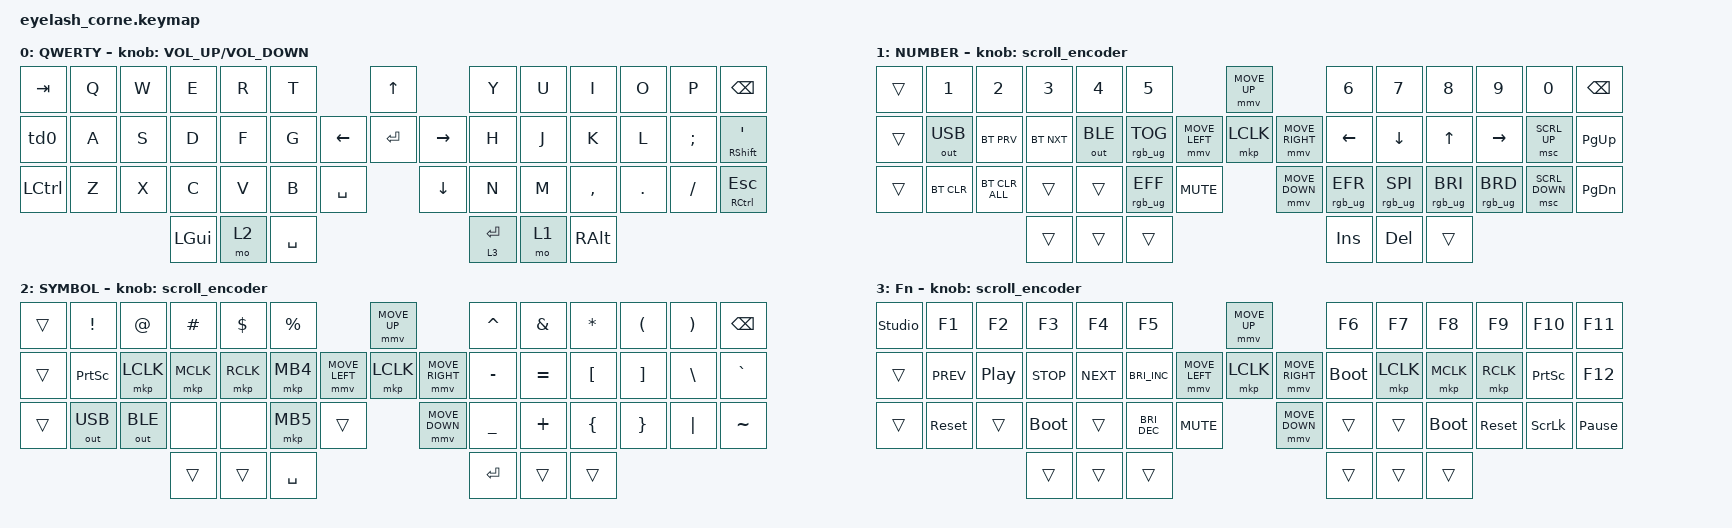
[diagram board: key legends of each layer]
#include <behaviors.dtsi>
#include <dt-bindings/zmk/bt.h>
#include <dt-bindings/zmk/keys.h>
#include <dt-bindings/zmk/mouse.h>
#include <dt-bindings/zmk/outputs.h>
#include <dt-bindings/zmk/rgb.h>

#include <input/processors.dtsi>

/*

   &mmv_input_listener {
       input-processors = <&zip_xy_scaler 2 1>;
   };

   &msc_input_listener {
       input-processors = <&zip_xy_scaler 2 1>;
   };

 */

#define ZMK_MOUSE_DEFAULT_MOVE_VAL 1500  // 600
#define ZMK_MOUSE_DEFAULT_SCRL_VAL 20    // 10

/ {
    behaviors {
        td0: td0 {
            compatible = "zmk,behavior-tap-dance";
            display-name = "Shift/Caps Lock Tap Dance";
            #binding-cells = <0>;
            bindings = <&kp LEFT_SHIFT>, <&kp CAPS>;
        };

        rgb_encoder: rgb_encoder {
            compatible = "zmk,behavior-sensor-rotate";
            #sensor-binding-cells = <0>;
            bindings = <&rgb_ug RGB_BRI>, <&rgb_ug RGB_BRD>;
        };

        scroll_encoder: scroll_encoder {
            compatible = "zmk,behavior-sensor-rotate";
            #sensor-binding-cells = <0>;
            bindings = <&msc SCRL_DOWN>, <&msc SCRL_UP>;
            tap-ms = <30>;
        };
    };

    keymap {
        compatible = "zmk,keymap";

        default_layer {
            display-name = "QWERTY";
            bindings = <
&kp TAB    &kp Q  &kp W      &kp E     &kp R  &kp T                              &kp UP                &kp Y        &kp U  &kp I      &kp O    &kp P     &kp BSPC
&td0       &kp A  &kp S      &kp D     &kp F  &kp G                    &kp LEFT  &kp ENTER  &kp RIGHT  &kp H        &kp J  &kp K      &kp L    &kp SEMI  &mt RSHIFT SQT
&kp LCTRL  &kp Z  &kp X      &kp C     &kp V  &kp B       &kp SPACE              &kp DOWN              &kp N        &kp M  &kp COMMA  &kp DOT  &kp FSLH  &mt RCTRL ESC
                             &kp LGUI  &mo 2  &kp SPACE                                              &lt 3 ENTER  &mo 1  &kp RALT
            >;
            sensor-bindings = <&inc_dec_kp C_VOLUME_UP C_VOLUME_DOWN>;
        };

        lower_layer {
            display-name = "NUMBER";
            bindings = <
&trans  &kp N1           &kp N2          &kp N3        &kp N4         &kp N5                                        &mmv MOVE_UP                     &kp N6           &kp N7           &kp N8           &kp N9           &kp N0           &kp BSPC
&trans  &out OUT_USB     &bt BT_PRV      &bt BT_NXT    &out OUT_BLE   &rgb_ug RGB_TOG               &mmv MOVE_LEFT  &mkp LCLK       &mmv MOVE_RIGHT  &kp LEFT         &kp DOWN         &kp UP           &kp RIGHT        &msc SCRL_UP     &kp PG_UP
&trans  &bt BT_CLR       &bt BT_CLR_ALL  &trans        &trans         &rgb_ug RGB_EFF &kp C_MUTE                    &mmv MOVE_DOWN                   &rgb_ug RGB_EFR  &rgb_ug RGB_SPI  &rgb_ug RGB_BRI  &rgb_ug RGB_BRD  &msc SCRL_DOWN   &kp PG_DN
                                         &trans        &trans         &trans                                                                         &kp INS          &kp DEL          &trans
            >;
            sensor-bindings = <&scroll_encoder>;
        };

        raise_layer {
            display-name = "SYMBOL";
            bindings = <
&trans  &kp EXCL         &kp AT        &kp HASH   &kp DLLR   &kp PRCNT                           &mmv MOVE_UP                     &kp CARET  &kp AMPS   &kp ASTRK  &kp LPAR  &kp RPAR  &kp BSPC
&trans  &kp PRINTSCREEN  &mkp LCLK     &mkp MCLK  &mkp RCLK  &mkp MB4            &mmv MOVE_LEFT  &mkp LCLK       &mmv MOVE_RIGHT  &kp MINUS  &kp EQUAL  &kp LBKT   &kp RBKT  &kp BSLH  &kp GRAVE
&trans  &out OUT_USB     &out OUT_BLE  &none      &none      &mkp MB5  &trans                    &mmv MOVE_DOWN                   &kp UNDER  &kp PLUS   &kp LBRC   &kp RBRC  &kp PIPE  &kp TILDE
                                    &trans     &trans     &kp SPACE                                                            &kp RET    &trans     &trans
            >;
            sensor-bindings = <&scroll_encoder>;
        };

        layer_3 {
            display-name = "Fn";
            bindings = <
&studio_unlock     &kp F1      &kp F2             &kp F3       &kp F4     &kp F5                                  &mmv MOVE_UP                          &kp F6       &kp F7     &kp F8       &kp F9      &kp F10          &kp F11
&trans             &kp C_PREV  &kp C_PLAY_PAUSE   &kp C_STOP   &kp C_NEXT &kp C_BRI_INC           &mmv MOVE_LEFT  &mkp LCLK       &mmv MOVE_RIGHT       &bootloader  &mkp LCLK  &mkp MCLK    &mkp RCLK   &kp PRINTSCREEN  &kp F12
&trans             &sys_reset  &trans             &bootloader  &trans     &kp C_BRI_DEC  &kp C_MUTE               &mmv MOVE_DOWN                        &trans       &trans     &bootloader  &sys_reset  &kp SCROLLLOCK   &kp PAUSE_BREAK
                                &trans      &trans      &trans                                                                   &trans       &trans     &trans
            >;
            sensor-bindings = <&scroll_encoder>;
        };
    };
};
